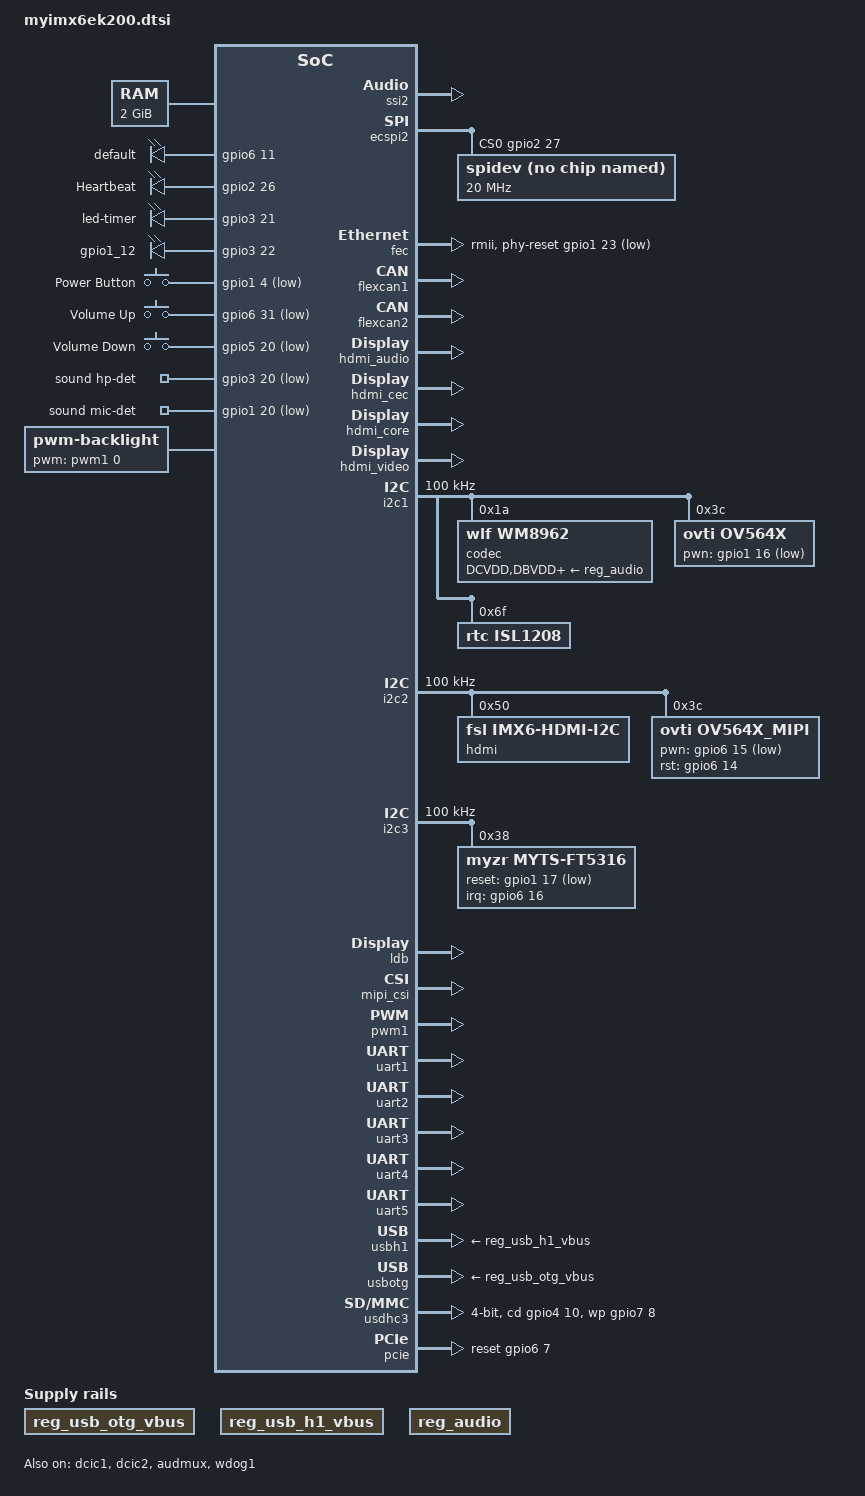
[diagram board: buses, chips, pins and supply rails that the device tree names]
/*
 * MYZR Technology Co.,Ltd
 * http://www.myzr.com.cn
 * Tang Bin <tangb@myzr.com.cn>
 */

#include <dt-bindings/input/input.h>
#include "myimx6cb200.dtsi"
#include "myimx6ek200-iomux.dtsi"

/ {
	aliases {
		mxcfb0 = &mxcfb1;
		mxcfb1 = &mxcfb2;
		mxcfb2 = &mxcfb3;
		mxcfb3 = &mxcfb4;
	};

	memory: memory {
		reg = <0x10000000 0x80000000>;
	};
	
	regulators {
		compatible = "simple-bus";
		#address-cells = <1>;
		#size-cells = <0>;

		reg_usb_otg_vbus: regulator@0 {
			compatible = "regulator-fixed";
			reg = <0>;
			regulator-name = "usb_otg_vbus";
			enable-active-high;
		};

		reg_usb_h1_vbus: regulator@1 {
			compatible = "regulator-fixed";
			reg = <1>;
			regulator-name = "usb_h1_vbus";
			enable-active-high;
		};

		reg_audio: regulator@2 {
			compatible = "regulator-fixed";
			reg = <2>;
			regulator-name = "wm8962-supply";
			enable-active-high;
		};
	};

	leds {
		compatible = "gpio-leds";
		pinctrl-names = "default";
		pinctrl-0 = <&pinctrl_eim0_leds &pinctrl_nandf_leds>;

		led-default {			/* D7 */
			label = "default";
			gpios = <&gpio6 11 0>;
			linux,default-trigger = "default-on";
			default-state = "on";
		};
		
		led-heartbeat {			/* D8 */
			label = "Heartbeat";
			gpios = <&gpio2 26 0>;
			linux,default-trigger = "heartbeat";
		};
		
		led-timer {				/* D9 */
			gpios = <&gpio3 21 0>;
			linux,default-trigger = "timer";
			default-state = "off";
		};

		led-gpio {				/* D10 */
			label = "gpio1_12";
			gpios = <&gpio3 22 0>;
			linux,default-trigger = "gpio";
		};
		
	};

	gpio-keys {
		compatible = "gpio-keys";
		pinctrl-names = "default";
		pinctrl-0 = <&pinctrl_eim2_keys &pinctrl_csi_keys &pinctrl_gpio_keys>;

		power {
			label = "Power Button";
			gpios = <&gpio1 4 1>;
			gpio-key,wakeup;
			linux,code = <KEY_POWER>;
		};

		volume-up {
			label = "Volume Up";
			gpios = <&gpio6 31 1>;
			gpio-key,wakeup;
			linux,code = <KEY_VOLUMEUP>;
		};

		volume-down {
			label = "Volume Down";
			gpios = <&gpio5 20 1>;
			gpio-key,wakeup;
			linux,code = <KEY_VOLUMEDOWN>;
		};
	};
	
	sound {
		compatible = "myzr,myimx6-wm8962",
			   "fsl,imx-audio-wm8962";
		model = "wm8962-audio";
		cpu-dai = <&ssi2>;
		audio-codec = <&codec>;
		asrc-controller = <&asrc>;
		audio-routing =
			"Headphone Jack", "HPOUTL",
			"Headphone Jack", "HPOUTR",
			"Ext Spk", "SPKOUTL",
			"Ext Spk", "SPKOUTR",
			"MICBIAS", "AMIC",
			"IN3R", "MICBIAS",
			"DMIC", "MICBIAS",
			"DMICDAT", "DMIC",
			"CPU-Playback", "ASRC-Playback",
			"Playback", "CPU-Playback",
			"ASRC-Capture", "CPU-Capture",
			"CPU-Capture", "Capture";
		mux-int-port = <2>;
		mux-ext-port = <3>;
		hp-det-gpios = <&gpio3 20 1>;
		mic-det-gpios = <&gpio1 20 1>;
	};

	sound-hdmi {
		compatible = "fsl,imx6q-audio-hdmi",
			     "fsl,imx-audio-hdmi";
		model = "imx-audio-hdmi";
		hdmi-controller = <&hdmi_audio>;
	};

	mxcfb1: fb@0 {
		compatible = "fsl,mxc_sdc_fb";
		disp_dev = "ldb";
		interface_pix_fmt = "RGB666";
		default_bpp = <16>;
		int_clk = <0>;
		late_init = <0>;
		status = "disabled";
	};

	mxcfb2: fb@1 {
		compatible = "fsl,mxc_sdc_fb";
		disp_dev = "hdmi";
		interface_pix_fmt = "RGB24";
		mode_str ="1920x1080M@60";
		default_bpp = <24>;
		int_clk = <0>;
		late_init = <0>;
		status = "disabled";
	};

	mxcfb3: fb@2 {
		compatible = "fsl,mxc_sdc_fb";
		disp_dev = "lcd";
		interface_pix_fmt = "RGB565";
		mode_str ="CLAA-WVGA";
		default_bpp = <16>;
		int_clk = <0>;
		late_init = <0>;
		status = "disabled";
	};

	mxcfb4: fb@3 {
		compatible = "fsl,mxc_sdc_fb";
		disp_dev = "ldb";
		interface_pix_fmt = "RGB666";
		default_bpp = <16>;
		int_clk = <0>;
		late_init = <0>;
		status = "disabled";
	};

	lcd@0 {
		compatible = "fsl,lcd";
		ipu_id = <0>;
		disp_id = <0>;
		default_ifmt = "RGB24";
		pinctrl-names = "default";
		pinctrl-0 = <&pinctrl_lcd_disp>;
		status = "okay";
	};

	backlight {
		compatible = "pwm-backlight";
		pwms = <&pwm1 0 5000000>;
		brightness-levels = <0 36 72 108 144 180 216 255>;
		default-brightness-level = <7>;
		status = "okay";
	};

	v4l2_cap_0 {
		compatible = "fsl,imx6q-v4l2-capture";
		ipu_id = <0>;
		csi_id = <0>;
		mclk_source = <0>;
		status = "okay";
	};

	v4l2_cap_1 {
		compatible = "fsl,imx6q-v4l2-capture";
		ipu_id = <0>;
		csi_id = <1>;
		mclk_source = <0>;
		status = "okay";
	};

	v4l2_out {
		compatible = "fsl,mxc_v4l2_output";
		status = "okay";
	};
};

&clks {
	fsl,ldb-di0-parent = <&clks IMX6QDL_CLK_PLL2_PFD0_352M>;
	fsl,ldb-di1-parent = <&clks IMX6QDL_CLK_PLL2_PFD0_352M>;
};

&iomuxc {
	pinctrl-names = "default";
	pinctrl-0 = <&pinctrl_eim0_pad &pinctrl_sd1_pad &pinctrl_sd2_pad &pinctrl_sd3_pad &pinctrl_gpio_pad &pinctrl_nandf_mipi_csi &pinctrl_nandf_pcie>;
};

&dcic1 {
	dcic_id = <0>;
	dcic_mux = "dcic-hdmi";
	status = "okay";
};

&dcic2 {
	dcic_id = <1>;
	dcic_mux = "dcic-lvds1";
	status = "okay";
};

&gpc {
	fsl,ldo-bypass = <1>;
	fsl,wdog-reset = <1>;
};

&audmux {
	pinctrl-names = "default";
	pinctrl-0 = <&pinctrl_csi_aud3 &pinctrl_eim0_hp_det>;
	status = "okay";
};

&ssi2 {
	fsl,mode = "i2s-slave";
	status = "okay";
};

&ecspi2 {
	fsl,spi-num-chipselects = <1>;
	cs-gpios = <&gpio2 27 0>;
	pinctrl-names = "default";
	pinctrl-0 = <&pinctrl_eim1_spi2>;
	status = "okay";

	spidev@0 {
		compatible = "spidev";
		spi-max-frequency = <20000000>;
		reg = <0>;
	};
};

&fec {
	pinctrl-names = "default";
	pinctrl-0 = <&pinctrl_enet_enet &pinctrl_gpio_enet>;
	phy-mode = "rmii";
	phy-reset-gpios = <&gpio1 23 0>;
	fsl,magic-packet;
	status = "okay";
};

&flexcan1 {
	pinctrl-names = "default";
	pinctrl-0 = <&pinctrl_gpio_can1>;
	status = "okay"; 
};

&flexcan2 {
	pinctrl-names = "default";
	pinctrl-0 = <&pinctrl_gpio_can2>;
	status = "okay";
};

&hdmi_audio {
	status = "okay";
};

&hdmi_cec {
	pinctrl-names = "default";
	pinctrl-0 = <&pinctrl_gpio_hdmi>;
	status = "okay";
};

&hdmi_core {
	ipu_id = <0>;
	disp_id = <0>;
	status = "okay";
};

&hdmi_video {
	fsl,phy_reg_vlev = <0x0294>;
	fsl,phy_reg_cksymtx = <0x800d>;
	status = "okay";
};

&i2c1 {
	clock-frequency = <100000>;
	pinctrl-names = "default";
	pinctrl-0 = <&pinctrl_csi_i2c1>;
	status = "okay";

	codec: wm8962@1a {
		compatible = "wlf,wm8962";
		reg = <0x1a>;
		clocks = <&clks 201>;
		DCVDD-supply = <&reg_audio>;
		DBVDD-supply = <&reg_audio>;
		AVDD-supply = <&reg_audio>;
		CPVDD-supply = <&reg_audio>;
		MICVDD-supply = <&reg_audio>;
		PLLVDD-supply = <&reg_audio>;
		SPKVDD1-supply = <&reg_audio>;
		SPKVDD2-supply = <&reg_audio>;
		amic-mono;
		gpio-cfg = <
			0x0000 /* 0:Default */
			0x0000 /* 1:Default */
			0x0013 /* 2:FN_DMICCLK */
			0x0000 /* 3:Default */
			0x8014 /* 4:FN_DMICCDAT */
			0x0000 /* 5:Default */
		>;
       };

	ov564x: ov564x@3c {
		compatible = "ovti,ov564x";
		reg = <0x3c>;
		pinctrl-names = "default";
		pinctrl-0 = <&pinctrl_csi_csi0>;
		clocks = <&clks IMX6QDL_CLK_CKO>;
		clock-names = "csi_mclk";
		pwn-gpios = <&gpio1 16 1>;
		csi_id = <0>;
		mclk = <24000000>;
		mclk_source = <0>;
	};

	isl1208@6f {
		compatible = "rtc,isl1208";
		reg = <0x6f>;
	};
};

&i2c2 {
	clock-frequency = <100000>;
	pinctrl-names = "default";
	pinctrl-0 = <&pinctrl_gpio_i2c2>;
	status = "okay";

	hdmi: edid@50 {
		compatible = "fsl,imx6-hdmi-i2c";
		reg = <0x50>;
	};

	ov564x_mipi: ov564x_mipi@3c {
		compatible = "ovti,ov564x_mipi";
		reg = <0x3c>;
		clocks = <&clks 201>;
		clock-names = "csi_mclk";
		pwn-gpios = <&gpio6 15 1>;
		rst-gpios = <&gpio6 14 0>;
		csi_id = <1>;
		mclk = <24000000>;
		mclk_source = <0>;
	};
};

&i2c3 {
	clock-frequency = <100000>;
	pinctrl-names = "default";
	pinctrl-0 = <&pinctrl_gpio_i2c3>;
	status = "okay";

	myzr: myts_ft5x0x@38 {
		compatible = "myzr,myts-ft5316";
		reg = <0x38>;
		pinctrl-names = "default";
		pinctrl-0 = <&pinctrl_sd1_ts_int &pinctrl_nandf_ts>;
		interrupt-parent = <&gpio6>;
		interrupts = <16 0>;
		reset-gpios = <&gpio1 17 GPIO_ACTIVE_LOW>;
		linux,wakeup;
	};
};

&ldb {
	status = "okay";

	lvds-channel@0 {
		fsl,data-mapping = "spwg";
		fsl,data-width = <18>;
		status = "okay";

		display-timings {
			native-mode = <&timing0>;
			timing0: hsd100pxn1 {
				clock-frequency = <65000000>;
				hactive = <1024>;
				vactive = <600>;
				hback-porch = <220>;
				hfront-porch = <40>;
				vback-porch = <21>;
				vfront-porch = <7>;
				hsync-len = <60>;
				vsync-len = <10>;
			};
		};
	};

	lvds-channel@1 {
		fsl,data-mapping = "spwg";
		fsl,data-width = <18>;
		primary;
		status = "okay";

		display-timings {
			native-mode = <&timing1>;
			timing1: hsd100pxn1 {
				clock-frequency = <65000000>;
				hactive = <1024>;
				vactive = <600>;
				hback-porch = <220>;
				hfront-porch = <40>;
				vback-porch = <21>;
				vfront-porch = <7>;
				hsync-len = <60>;
				vsync-len = <10>;
			};
		};
	};
};

&mipi_csi {
	status = "okay";
	ipu_id = <0>;
	csi_id = <1>;
	v_channel = <0>;
	lanes = <2>;
};

&pwm1 {
	pinctrl-names = "default";
	pinctrl-0 = <&pinctrl_sd1_pwm1>;
	status = "okay";
};

&uart1 {
	pinctrl-names = "default";
	pinctrl-0 = <&pinctrl_csi_uart1>;
	status = "okay";
};

&uart2 {
	pinctrl-names = "default";
	pinctrl-0 = <&pinctrl_eim0_uart2>;
	status = "okay";
};

&uart3 {
	pinctrl-names = "default";
	pinctrl-0 = <&pinctrl_eim0_uart3>;
	status = "okay";
};

&uart4 {
	pinctrl-names = "default";
	pinctrl-0 = <&pinctrl_gpio_uart4>;
	status = "okay";
};

&uart5 {
	pinctrl-names = "default";
	pinctrl-0 = <&pinctrl_gpio_uart5>;
	status = "okay";
};

&usbh1 {
	vbus-supply = <&reg_usb_h1_vbus>;
	status = "okay";
};

&usbotg {
	vbus-supply = <&reg_usb_otg_vbus>;
	pinctrl-names = "default";
	pinctrl-0 = <&pinctrl_gpio_usbotg>;
	disable-over-current;
	srp-disable;
	hnp-disable;
	adp-disable;
	status = "okay";
};

&usdhc3 {
	pinctrl-names = "default";
	pinctrl-0 = <&pinctrl_sd3_sd3 &pinctrl_gpio_sd3>;
	bus-width = <4>;
	cd-gpios = <&gpio4 10 0>;
	wp-gpios = <&gpio7 8 0>;
	no-1-8-v;
	keep-power-in-suspend;
	enable-sdio-wakeup;
	status = "okay";
};

&pcie {
	power-on-gpio = <&gpio6 8 0>;
	reset-gpio = <&gpio6 7 0>;
	status = "okay";
};

&wdog1 {
	status = "okay";
};

&wdog2 {
	status = "disabled";
};

&caam_snvs {
	status = "disabled";
};

